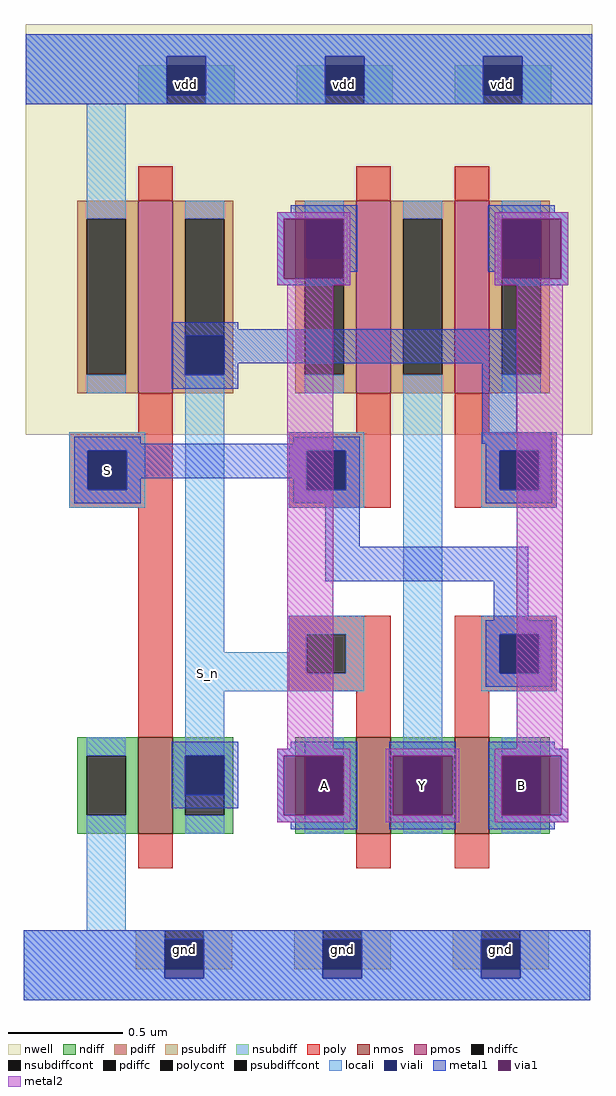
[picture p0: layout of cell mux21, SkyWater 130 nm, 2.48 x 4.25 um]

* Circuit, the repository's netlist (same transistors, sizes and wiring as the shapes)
* NGSPICE file created from mux21.ext - technology: sky130A

.subckt mux21 A B Y S gnd vdd
X0 Y S A vdd sky130_fd_pr__pfet_01v8 ad=0.118 pd=1.12 as=0.223 ps=2.21 w=0.84 l=0.15
X1 S_n S gnd gnd sky130_fd_pr__nfet_01v8 ad=0.111 pd=1.37 as=0.111 ps=1.37 w=0.42 l=0.15
X2 B S Y gnd sky130_fd_pr__nfet_01v8 ad=0.111 pd=1.37 as=0.0588 ps=0.7 w=0.42 l=0.15
X3 S_n S vdd vdd sky130_fd_pr__pfet_01v8 ad=0.223 pd=2.21 as=0.223 ps=2.21 w=0.84 l=0.15
X4 B S_n Y vdd sky130_fd_pr__pfet_01v8 ad=0.223 pd=2.21 as=0.118 ps=1.12 w=0.84 l=0.15
X5 Y S_n A gnd sky130_fd_pr__nfet_01v8 ad=0.0588 pd=0.7 as=0.111 ps=1.37 w=0.42 l=0.15
.ends

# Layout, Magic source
magic
tech sky130A
magscale 1 2
<< nwell >>
rect -98 348 396 706
<< nmos >>
rect 0 0 30 84
rect 190 0 220 84
rect 276 0 306 84
<< pmos >>
rect 0 384 30 552
rect 190 384 220 552
rect 276 384 306 552
<< ndiff >>
rect -53 68 0 84
rect -53 16 -45 68
rect -11 16 0 68
rect -53 0 0 16
rect 30 68 83 84
rect 30 16 41 68
rect 75 16 83 68
rect 30 0 83 16
rect 137 68 190 84
rect 137 16 145 68
rect 179 16 190 68
rect 137 0 190 16
rect 220 68 276 84
rect 220 16 231 68
rect 265 16 276 68
rect 220 0 276 16
rect 306 68 359 84
rect 306 16 317 68
rect 351 16 359 68
rect 306 0 359 16
<< pdiff >>
rect -53 536 0 552
rect -53 400 -45 536
rect -11 400 0 536
rect -53 384 0 400
rect 30 536 83 552
rect 30 400 41 536
rect 75 400 83 536
rect 30 384 83 400
rect 137 536 190 552
rect 137 400 145 536
rect 179 400 190 536
rect 137 384 190 400
rect 220 536 276 552
rect 220 400 231 536
rect 265 400 276 536
rect 220 384 276 400
rect 306 536 359 552
rect 306 400 317 536
rect 351 400 359 536
rect 306 384 359 400
<< ndiffc >>
rect -45 16 -11 68
rect 41 16 75 68
rect 145 16 179 68
rect 231 16 265 68
rect 317 16 351 68
<< pdiffc >>
rect -45 400 -11 536
rect 41 400 75 536
rect 145 400 179 536
rect 231 400 265 536
rect 317 400 351 536
<< psubdiff >>
rect -2 -118 23 -84
rect 57 -118 82 -84
rect 136 -118 161 -84
rect 195 -118 220 -84
rect 274 -118 299 -84
rect 333 -118 358 -84
<< nsubdiff >>
rect 0 636 25 670
rect 59 636 84 670
rect 138 636 163 670
rect 197 636 222 670
rect 276 636 301 670
rect 335 636 360 670
<< psubdiffcont >>
rect 23 -118 57 -84
rect 161 -118 195 -84
rect 299 -118 333 -84
<< nsubdiffcont >>
rect 25 636 59 670
rect 163 636 197 670
rect 301 636 335 670
<< poly >>
rect 0 552 30 582
rect 190 552 220 582
rect 276 552 306 582
rect 0 350 30 384
rect 190 350 220 384
rect -60 334 30 350
rect -60 300 -44 334
rect -10 300 30 334
rect -60 284 30 300
rect 131 334 220 350
rect 131 300 147 334
rect 181 300 220 334
rect 131 284 220 300
rect 276 350 306 384
rect 276 334 365 350
rect 276 300 315 334
rect 349 300 365 334
rect 276 284 365 300
rect 0 84 30 284
rect 131 174 220 190
rect 131 140 147 174
rect 181 140 220 174
rect 131 124 220 140
rect 190 84 220 124
rect 276 174 365 190
rect 276 140 315 174
rect 349 140 365 174
rect 276 124 365 140
rect 276 84 306 124
rect 0 -30 30 0
rect 190 -30 220 0
rect 276 -30 306 0
<< polycont >>
rect -44 300 -10 334
rect 147 300 181 334
rect 315 300 349 334
rect 147 140 181 174
rect 315 140 349 174
<< locali >>
rect -98 678 396 697
rect -98 636 25 678
rect 59 636 163 678
rect 197 636 301 678
rect 335 636 396 678
rect -45 536 -11 636
rect -45 384 -11 400
rect 41 536 75 552
rect -60 334 6 350
rect -60 300 -44 334
rect -10 300 6 334
rect -60 284 6 300
rect 41 158 75 400
rect 145 536 179 552
rect 145 384 179 400
rect 231 536 265 552
rect 131 334 197 350
rect 131 300 147 334
rect 181 300 197 334
rect 131 284 197 300
rect 131 174 197 190
rect 131 158 147 174
rect 41 140 147 158
rect 181 140 197 174
rect 41 124 197 140
rect -45 68 -11 84
rect -45 -84 -11 16
rect 41 68 75 124
rect 41 0 75 16
rect 145 68 179 84
rect 145 0 179 16
rect 231 68 265 400
rect 317 536 351 552
rect 317 384 351 400
rect 299 334 365 350
rect 299 300 315 334
rect 349 300 365 334
rect 299 284 365 300
rect 299 174 365 190
rect 299 140 315 174
rect 349 140 365 174
rect 299 124 365 140
rect 231 0 265 16
rect 317 68 351 84
rect 317 0 351 16
rect -100 -126 23 -84
rect 57 -126 161 -84
rect 195 -126 299 -84
rect 333 -126 394 -84
rect -100 -145 394 -126
<< viali >>
rect 25 670 59 678
rect 25 644 59 670
rect 163 670 197 678
rect 163 644 197 670
rect 301 670 335 678
rect 301 644 335 670
rect 41 400 75 434
rect -44 300 -10 334
rect 145 502 179 536
rect 147 300 181 334
rect 41 34 75 68
rect 145 16 179 68
rect 317 502 351 536
rect 315 300 349 334
rect 315 140 349 174
rect 231 16 265 68
rect 317 16 351 68
rect 23 -118 57 -92
rect 23 -126 57 -118
rect 161 -118 195 -92
rect 161 -126 195 -118
rect 299 -118 333 -92
rect 299 -126 333 -118
<< metal1 >>
rect -98 678 396 697
rect -98 644 25 678
rect 59 644 163 678
rect 197 644 301 678
rect 335 644 396 678
rect -98 636 396 644
rect 133 542 191 548
rect 121 536 191 542
rect 121 484 127 536
rect 179 490 191 536
rect 305 542 363 548
rect 305 536 375 542
rect 305 490 317 536
rect 179 484 185 490
rect 121 478 185 484
rect 311 484 317 490
rect 369 484 375 536
rect 311 478 375 484
rect 29 440 87 446
rect 29 434 330 440
rect 29 400 41 434
rect 75 410 330 434
rect 75 400 87 410
rect 29 388 87 400
rect 300 350 330 410
rect 300 346 360 350
rect -56 340 2 346
rect 135 340 193 346
rect 300 340 361 346
rect -56 334 193 340
rect -56 300 -44 334
rect -10 310 147 334
rect -10 300 2 310
rect -56 288 2 300
rect 135 300 147 310
rect 181 300 193 334
rect 135 288 193 300
rect 303 334 361 340
rect 303 300 315 334
rect 349 300 361 334
rect 303 288 361 300
rect 163 250 193 288
rect 163 220 340 250
rect 310 186 340 220
rect 303 174 361 186
rect 303 140 315 174
rect 349 140 361 174
rect 303 128 361 140
rect 29 68 87 80
rect 133 74 191 80
rect 29 34 41 68
rect 75 34 87 68
rect 29 22 87 34
rect 121 68 191 74
rect 121 16 127 68
rect 179 16 191 68
rect 121 10 191 16
rect 133 4 191 10
rect 219 68 277 80
rect 219 16 222 68
rect 274 16 277 68
rect 219 4 277 16
rect 305 74 363 80
rect 305 68 375 74
rect 305 16 317 68
rect 369 16 375 68
rect 305 10 375 16
rect 305 4 363 10
rect -100 -92 394 -84
rect -100 -126 23 -92
rect 57 -126 161 -92
rect 195 -126 299 -92
rect 333 -126 394 -92
rect -100 -145 394 -126
<< via1 >>
rect 127 502 145 536
rect 145 502 179 536
rect 127 484 179 502
rect 317 502 351 536
rect 351 502 369 536
rect 317 484 369 502
rect 127 16 145 68
rect 145 16 179 68
rect 222 16 231 68
rect 231 16 265 68
rect 265 16 274 68
rect 317 16 351 68
rect 351 16 369 68
<< metal2 >>
rect 121 536 185 542
rect 121 484 127 536
rect 179 484 185 536
rect 121 478 185 484
rect 311 536 375 542
rect 311 484 317 536
rect 369 484 375 536
rect 311 478 375 484
rect 130 74 170 478
rect 330 74 370 478
rect 121 68 185 74
rect 121 16 127 68
rect 179 16 185 68
rect 121 10 185 16
rect 216 68 280 74
rect 216 16 222 68
rect 274 16 280 68
rect 216 10 280 16
rect 311 68 375 74
rect 311 16 317 68
rect 369 16 375 68
rect 311 10 375 16
<< labels >>
rlabel via1 248 42 248 42 5 Y
port 3 s
rlabel locali 60 140 60 140 5 S_n
rlabel via1 162 42 162 42 5 A
port 1 s
rlabel via1 334 42 334 42 5 B
port 2 s
rlabel viali 40 -101 40 -101 5 gnd
port 5 s
rlabel viali 42 653 42 653 1 vdd
port 6 n
rlabel viali -27 317 -27 317 5 S
port 4 s
rlabel viali 180 653 180 653 1 vdd
rlabel viali 318 653 318 653 1 vdd
rlabel viali 178 -101 178 -101 5 gnd
rlabel viali 316 -101 316 -101 5 gnd
<< end >>
